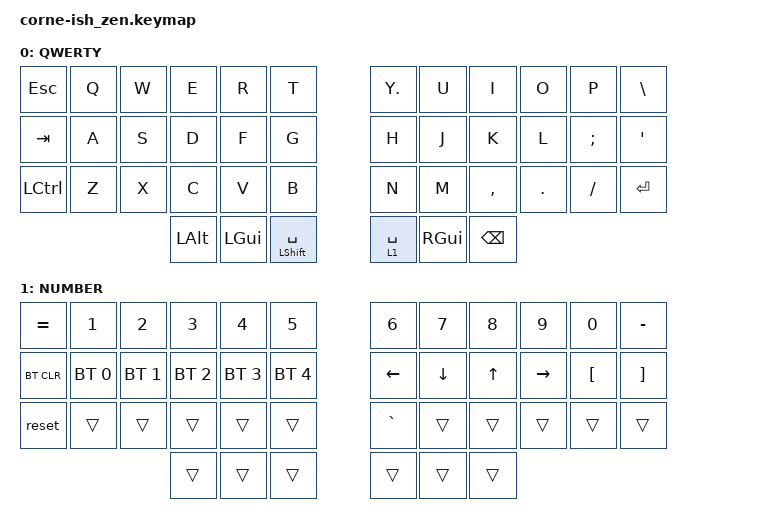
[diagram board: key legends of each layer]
/*
*
* Copyright (c) 2021 Darryl deHaan
* SPDX-License-Identifier: MIT
*
*/

#include <behaviors.dtsi>
#include <dt-bindings/zmk/keys.h>
#include <dt-bindings/zmk/bt.h>

/ {
        keymap {
                compatible = "zmk,keymap";

                default_layer {
                        label = "QWERTY";
// -----------------------------------------------------------------------------------------
// |  ESC |  Q  |  W  |  E  |  R  |  T  |   |  Y   |  U   |  I  |  O  |  P  |  \   |
// |  TAB |  A  |  S  |  D  |  F  |  G  |   |  H   |  J   |  K  |  L  |  ;  |  '   |
// | CTRL |  Z  |  X  |  C  |  V  |  B  |   |  N   |  M   |  ,  |  .  |  /  | ENT  |
//                    | GUI | LWR | SPC |   | SHFT | DEL  | ALT |
                        bindings = <
   &kp ESC   &kp Q &kp W &kp E &kp R &kp T               &kp Y.       &kp U     &kp I     &kp O   &kp P    &kp BSLH
   &kp TAB   &kp A &kp S &kp D &kp F &kp G               &kp H        &kp J     &kp K     &kp L   &kp SEMI &kp SQT
   &kp LCTRL &kp Z &kp X &kp C &kp V &kp B               &kp N        &kp M     &kp COMMA &kp DOT &kp FSLH &kp RET
                  &kp LALT &kp LGUI &mt LSHIFT SPACE     &lt 1 SPACE  &kp RGUI  &kp BSPC
                        >;
                };
                lower_layer {
                        label = "NUMBER";
// -----------------------------------------------------------------------------------------
// |   =  |  1  |  2  |  3  |  4  |  5  |   |  6  |  7  |  8  |  9  |  0  |  -   |
// | BTCLR| BT1 | BT2 | BT3 | BT4 | BT5 |   | LFT | DWN |  UP | RGT |  [  |  ]   |
// | SHFT |     |     |     |     |     |   |     |     |     |     |     |      |
//                    | GUI |     | SPC |   | ENT |     | ALT |
                        bindings = <
   &kp EQUAL  &kp N1       &kp N2       &kp N3       &kp N4       &kp N5         &kp N6    &kp N7   &kp N8 &kp N9    &kp N0   &kp MINUS
   &bt BT_CLR &bt BT_SEL 0 &bt BT_SEL 1 &bt BT_SEL 2 &bt BT_SEL 3 &bt BT_SEL 4   &kp LEFT  &kp DOWN &kp UP &kp RIGHT &kp LBKT &kp RBKT
   &reset     &trans       &trans       &trans       &trans       &trans         &kp GRAVE &trans   &trans &trans    &trans   &trans
                          	        &trans       &trans       &trans         &trans    &trans   &trans
                        >;
                };
        };
};
